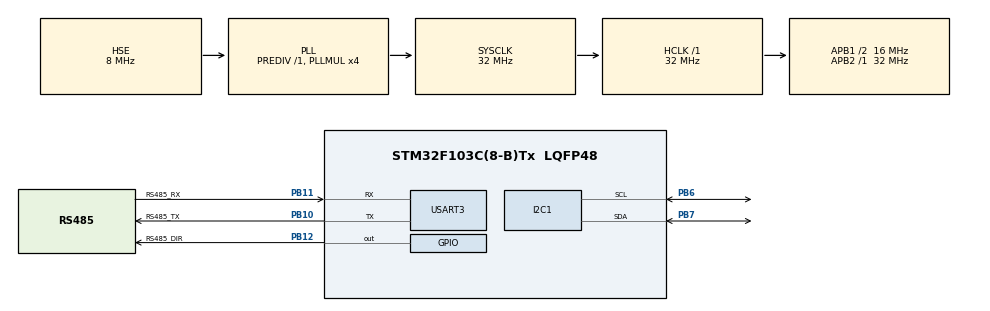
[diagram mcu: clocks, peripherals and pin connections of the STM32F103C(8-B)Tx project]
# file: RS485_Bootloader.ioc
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Dma.I2C1_TX.0.Direction=DMA_MEMORY_TO_PERIPH
Dma.I2C1_TX.0.Instance=DMA1_Channel6
Dma.I2C1_TX.0.MemDataAlignment=DMA_MDATAALIGN_HALFWORD
Dma.I2C1_TX.0.MemInc=DMA_MINC_ENABLE
Dma.I2C1_TX.0.Mode=DMA_NORMAL
Dma.I2C1_TX.0.PeriphDataAlignment=DMA_PDATAALIGN_HALFWORD
Dma.I2C1_TX.0.PeriphInc=DMA_PINC_DISABLE
Dma.I2C1_TX.0.Priority=DMA_PRIORITY_LOW
Dma.Request0=I2C1_TX
Mcu.Family=STM32F1
Mcu.Name=STM32F103C(8-B)Tx
Mcu.Package=LQFP48
NVIC.DMA1_Channel6_IRQn=true\:0\:0\:false\:false\:true\:false\:true
NVIC.PriorityGroup=NVIC_PRIORITYGROUP_4
NVIC.USART3_IRQn=true\:0\:0\:false\:false\:true\:true\:true
PA13.Mode=Serial_Wire
PA13.Signal=SYS_JTMS-SWDIO
PA14.Mode=Serial_Wire
PA14.Signal=SYS_JTCK-SWCLK
PB10.GPIO_Label=RS485_TX
PB10.Mode=Asynchronous
PB10.Signal=USART3_TX
PB11.GPIO_Label=RS485_RX
PB11.Mode=Asynchronous
PB11.Signal=USART3_RX
PB12.GPIO_Label=RS485_DIR
PB12.Signal=GPIO_Output
PB6.Mode=I2C
PB6.Signal=I2C1_SCL
PB7.Mode=I2C
PB7.Signal=I2C1_SDA
PC14-OSC32_IN.Mode=LSE-External-Oscillator
PC14-OSC32_IN.Signal=RCC_OSC32_IN
PC15-OSC32_OUT.Mode=LSE-External-Oscillator
PC15-OSC32_OUT.Signal=RCC_OSC32_OUT
PD0-OSC_IN.Mode=HSE-External-Oscillator
PD0-OSC_IN.Signal=RCC_OSC_IN
PD1-OSC_OUT.Mode=HSE-External-Oscillator
PD1-OSC_OUT.Signal=RCC_OSC_OUT
ProjectManager.HeapSize=0x200
ProjectManager.StackSize=0x400
ProjectManager.TargetToolchain=MDK-ARM V5.27
RCC.AHBFreq_Value=32000000
RCC.APB1CLKDivider=RCC_HCLK_DIV2
RCC.APB1Freq_Value=16000000
RCC.APB1TimFreq_Value=32000000
RCC.APB2Freq_Value=32000000
RCC.APB2TimFreq_Value=32000000
RCC.HCLKFreq_Value=32000000
RCC.PLLMUL=RCC_PLL_MUL4
RCC.PLLSourceVirtual=RCC_PLLSOURCE_HSE
RCC.SYSCLKFreq_VALUE=32000000
RCC.SYSCLKSource=RCC_SYSCLKSOURCE_PLLCLK
RCC.USBFreq_Value=32000000
USART3.VirtualMode=VM_ASYNC
board=custom

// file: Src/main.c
/* USER CODE BEGIN Header */
/**
  ******************************************************************************
  * @file           : main.c
  * @brief          : Main program body
  ******************************************************************************
  * @attention
  *
  * <h2><center>&copy; Copyright (c) 2020 STMicroelectronics.
  * All rights reserved.</center></h2>
  *
  * This software component is licensed by ST under BSD 3-Clause license,
  * the "License"; You may not use this file except in compliance with the
  * License. You may obtain a copy of the License at:
  *                        opensource.org/licenses/BSD-3-Clause
  *
  ******************************************************************************
  */
/* USER CODE END Header */

#include "main.h"
#include "dma.h"
#include "i2c.h"
#include "usart.h"
#include "gpio.h"

/* USER CODE BEGIN Includes */
#include <stdio.h>
#include "settings.h"
/* USER CODE END Includes */

/* USER CODE BEGIN PTD */
typedef  void (*pFunction)(void);
/* USER CODE END PTD */

/* USER CODE BEGIN PD */
#define	APP_ADDRESS				0x08004000
#define STM_FLASH_PAGE_BYTES		1024
#define LINES_PER_EEPROM_PAGE	I2C_EEPROM_PAGE_SIZE/16
#define EEPROM_START_ADDR		I2C_EEPROM_PAGE_SIZE*2
/* USER CODE END PD */

/* USER CODE BEGIN PV */
boot_state_t State = MAIN_APP_START;
uint8_t Hex_Data_Size, Hex_Data_Type, check_sum;
uint16_t Hex_Data_Address;
uint8_t Answer_Arr[8];
uint32_t program_data;//????? ??????? ??????? ?? ????
    uint8_t Hex_Data_Calculated_Crc = 0 , Hex_Data_Income_Crc = 0;
uint8_t MemPageBuf[I2C_EEPROM_PAGE_SIZE];
int MemPageCounter = 0;
int MemPageAddress = EEPROM_START_ADDR;
int EndDataAddress = 0x08010000;
int AppSize = 0xC000;
uint8_t Flash_Buf[STM_FLASH_PAGE_BYTES];
/* USER CODE END PV */

void SystemClock_Config(void);
/* USER CODE BEGIN PFP */
void ExecMainFW (void);
/* USER CODE END PFP */

/* USER CODE BEGIN 0 */
int fputc (int ch, FILE *f)
{
	HAL_GPIO_WritePin (RS485_DIR_GPIO_Port, RS485_DIR_Pin, GPIO_PIN_SET);
	HAL_UART_Transmit(&huart3, (uint8_t *) &ch, 1, 1000);
	HAL_GPIO_WritePin (RS485_DIR_GPIO_Port, RS485_DIR_Pin, GPIO_PIN_RESET);
	return ch;
}

void RS485_Transmit (uint8_t Tx_Buff[], uint16_t size)
{
	HAL_GPIO_WritePin (RS485_DIR_GPIO_Port, RS485_DIR_Pin, GPIO_PIN_SET);
	HAL_UART_Transmit(&huart3, (uint8_t *) Tx_Buff, size, 1000);
	HAL_GPIO_WritePin (RS485_DIR_GPIO_Port, RS485_DIR_Pin, GPIO_PIN_RESET);
}

void AsciiToHex (uint8_t *buf, uint8_t count)
{
	for(uint8_t i = 0; i < count; i++)
	{
		if ((buf[i] >= '0') && (buf[i] <= '9'))
		{
			buf[i] -= 0x30;
		}
		else
		{
			buf[i] -= 0x37;
		}
	}
}

/* USER CODE END 0 */

int main(void)
{
  /* USER CODE BEGIN 1 */
	FLASH_EraseInitTypeDef FlashPage;
	HAL_StatusTypeDef EraseStatus;
	uint32_t PageError;

	FlashPage.TypeErase = FLASH_TYPEERASE_PAGES;
	FlashPage.Banks = FLASH_BANK_1;
	FlashPage.NbPages = 1;
	FlashPage.PageAddress = APP_ADDRESS;

	uint32_t WordBuf;
	char buf [32] = "Hello!\r\n";
  /* USER CODE END 1 */

  /* MCU Configuration--------------------------------------------------------*/

  /* Reset of all peripherals, Initializes the Flash interface and the Systick. */
  HAL_Init();

  /* Configure the system clock */
  SystemClock_Config();

  /* USER CODE BEGIN SysInit */
// For I2c stm32f103 bug
	__HAL_RCC_I2C1_CLK_ENABLE();
	HAL_Delay(100);
	__HAL_RCC_I2C1_FORCE_RESET();
	HAL_Delay(100);
	__HAL_RCC_I2C1_RELEASE_RESET();
	HAL_Delay(100);
  /* USER CODE END SysInit */

  /* Initialize all configured peripherals */
	MX_GPIO_Init();
	MX_DMA_Init();
	MX_I2C1_Init();
	MX_USART3_UART_Init();
  /* USER CODE BEGIN 2 */
	Settings_Init (false);
  //i2c_eeprom_write (0x00, (unsigned char *)&buf, sizeof(buf));
  //strcpy (buf, "Fuck that shit!");
  //i2c_eeprom_read (0x00, (unsigned char *)&buf, sizeof(buf));
  //printf ("Eeprom: %s", buf);
  /* USER CODE END 2 */

  /* Infinite loop */
  /* USER CODE BEGIN WHILE */
	for (int i = 0; i < 32; i++) buf[i] = 0;
	RS485_Transmit ((uint8_t *) "M03:RDY", 7);
	//HAL_UART_Receive (&huart3, (uint8_t *) buf, 7, 8000);
	State = MAIN_APP_START;
	//printf ("MAIN: %s", buf);
	HAL_Delay (30);
	for (int i = 0; i < 32; i++)
	{
		HAL_UART_Receive (&huart3, (uint8_t *) buf, 1, 100);
		if (buf[0] == 'M')
		{
			HAL_UART_Receive (&huart3, (uint8_t *) buf, 1, 100);
			if (buf[0] == '0')
			{
				HAL_UART_Receive (&huart3, (uint8_t *) buf, 1, 100);
				if (buf[0] == '1')
				{
					HAL_UART_Receive (&huart3, (uint8_t *) buf, 1, 100);
					if (buf[0] == ':')
					{
						HAL_UART_Receive (&huart3, (uint8_t *) buf, 3, 100);
						if ((buf[0] == 'R') && (buf[1] == 'D') && (buf[2] == 'Y'))
						{
							HAL_Delay (30);
							RS485_Transmit ((uint8_t *) "M03:RDY", 7);
							State = WAIT_FOR_UPDATE;
							EndDataAddress = 0x0000;
							Answer_Arr [4] = ':';
							Answer_Arr [7] = 0;
							break;
						}
					}
				}
			}
		}
		HAL_Delay (30);
	}
	while (1)
	{
		switch (State)
		{
			case MAIN_APP_START:
					RS485_Transmit ((uint8_t *) "MAIN_APP_START..\r\n", 18);
					ExecMainFW ();
					RS485_Transmit ((uint8_t *) "Not Jumped!!!\r\n", 15);
				break;
			case UPDATE_LOADED_TO_MEM:
					EraseStatus = HAL_FLASH_Unlock();
					for(int page_counter = 0; (page_counter < 32) && (EraseStatus == HAL_OK); page_counter++)
					{
						EraseStatus = HAL_FLASHEx_Erase (&FlashPage, &PageError);
						FlashPage.PageAddress = APP_ADDRESS + (STM_FLASH_PAGE_BYTES * page_counter);
					}
					AppSize = ((APP_ADDRESS + EndDataAddress) - APP_ADDRESS) / STM_FLASH_PAGE_BYTES;
					printf ("AppSize: %d\r\n", AppSize);
					for (int j = 0; j <= AppSize; j++)
					{
						if (i2c_eeprom_read ((j*STM_FLASH_PAGE_BYTES + EEPROM_START_ADDR), Flash_Buf, STM_FLASH_PAGE_BYTES) > 0)
						{
							for (int k = 0; k < STM_FLASH_PAGE_BYTES; k += 4)
							{
								WordBuf =  Flash_Buf[k+3] << 24;
								WordBuf |= Flash_Buf[k+2] << 16;
								WordBuf |= Flash_Buf[k+1] << 8;
								WordBuf |= Flash_Buf[k+0];
								EraseStatus = HAL_FLASH_Program (FLASH_TYPEPROGRAM_WORD, APP_ADDRESS + k + j*STM_FLASH_PAGE_BYTES, (uint64_t) WordBuf);
								WordBuf = 0;
							}
						}
						//printf ("HAL_FLASH_Program: %d\r\n", EraseStatus);
						//printf ("j: %x \r\n", APP_ADDRESS + j*STM_FLASH_PAGE_BYTES);
					}
					EraseStatus = HAL_FLASH_Lock();
					RS485_Transmit ((uint8_t *) "HAL Flash locked\r\n", 18);
					State = MAIN_APP_START;
				break;
			case WAIT_FOR_UPDATE:
				HAL_UART_Receive (&huart3, (uint8_t *) buf, 1, 1000);
				if (buf[0] == ':' )
				{
					HAL_UART_Receive (&huart3, (uint8_t *) buf, 8, 1000);
					Answer_Arr [0] = buf[2];
					Answer_Arr [1] = buf[3];
					Answer_Arr [2] = buf[4];
					Answer_Arr [3] = buf[5];
					AsciiToHex ((uint8_t*) buf, 8);
					Hex_Data_Size = 2*(buf[1] + 16*buf[0]);
					Hex_Data_Address = buf[5] + 16*buf[4] + 256*buf[3] + 4096*buf[2];
					Hex_Data_Type = buf[7] + 16*buf[6];
					Hex_Data_Calculated_Crc = Hex_Data_Size/2 + (uint8_t)Hex_Data_Address + (uint8_t)(Hex_Data_Address>>8) + Hex_Data_Type;
					if(Hex_Data_Type == 0x00)
					{
						HAL_UART_Receive (&huart3, (uint8_t *) buf, Hex_Data_Size, 2000);
						AsciiToHex ((uint8_t*) buf, Hex_Data_Size);
						int j = 0;
						for(int i = 0; i < Hex_Data_Size; i += 2)
						{
							j = (i + 32*MemPageCounter) / 2;
							MemPageBuf[j] = (buf[i+1] + 16*buf[i]);
							Hex_Data_Calculated_Crc += MemPageBuf[j];
							EndDataAddress++;
						}
						//HAL_Delay (180);
						//printf ("MemPageBuf: %02x %02x %02x %02x %02x %02x %02x %02x \r\n", MemPageBuf[7], MemPageBuf[6], MemPageBuf[5], MemPageBuf[4], MemPageBuf[3], MemPageBuf[2], MemPageBuf[1], MemPageBuf[0]);
						HAL_UART_Receive (&huart3, (uint8_t *) buf, 2, 2000);
						AsciiToHex ((uint8_t*) buf, 2);
						Hex_Data_Income_Crc = (buf[1] + 16*buf[0]);
						Hex_Data_Calculated_Crc = 256 - Hex_Data_Calculated_Crc;
						if (Hex_Data_Calculated_Crc == Hex_Data_Income_Crc)
						{
							Answer_Arr [5] = 'O';
							Answer_Arr [6] = 'K';
							if (++MemPageCounter >= LINES_PER_EEPROM_PAGE)
							{
								MemPageCounter = 0;
								int tmp;
								tmp = i2c_eeprom_write_page (MemPageAddress, MemPageBuf);
								if (tmp > 0)
								{
									MemPageAddress = tmp;
								}
								else
								{
									MemPageCounter = LINES_PER_EEPROM_PAGE - 1;
									Answer_Arr [5] = 'E';
									Answer_Arr [6] = 'R';
									RS485_Transmit (Answer_Arr, 7);
									State = MAIN_APP_START;
									break;
								}
							}
						}
						else
						{
							Answer_Arr [5] = 'N';
							Answer_Arr [6] = 'O';
						}
						RS485_Transmit (Answer_Arr, 7);
						//printf ("Hex_Data_Calculated_Crc: %02x \r\n", Hex_Data_Calculated_Crc);
					}
					else if (Hex_Data_Type == 0x01)
					{
						State = UPDATE_LOADED_TO_MEM;
						if (MemPageCounter != 0)
						{
							Answer_Arr [5] = 'O';
							Answer_Arr [6] = 'K';
							int tmp;
								tmp = i2c_eeprom_write_page (MemPageAddress, MemPageBuf);
								if (tmp > 0)
								{
									MemPageAddress = tmp;
								}
								else
								{
									MemPageCounter = LINES_PER_EEPROM_PAGE - 1;
									Answer_Arr [5] = 'E';
									Answer_Arr [6] = 'R';
									State = MAIN_APP_START;
								}
							RS485_Transmit (Answer_Arr, 7);
						}
						//EndDataAddress = MemPageAddress + 64;
						HAL_Delay (15);
						printf ("\r\n Running main.. EndDAddr: %x; MemPageAddr: %x\r\n", EndDataAddress, MemPageAddress);
					}
					else if (Hex_Data_Type == 0x05)
					{
						//printf ("End, 0x05: \r\n");
						HAL_Delay (5);
						Answer_Arr [5] = 'O';
						Answer_Arr [6] = 'K';
						RS485_Transmit (Answer_Arr, 7);
					}
					else
					{
						HAL_Delay (5);
						Answer_Arr [5] = 'O';
						Answer_Arr [6] = 'K';
						RS485_Transmit (Answer_Arr, 7);
					}
				}
				break;
		}
    /* USER CODE END WHILE */

	}
}

void SystemClock_Config(void)
{
  RCC_OscInitTypeDef RCC_OscInitStruct = {0};
  RCC_ClkInitTypeDef RCC_ClkInitStruct = {0};

  /** Initializes the CPU, AHB and APB busses clocks
  */
  RCC_OscInitStruct.OscillatorType = RCC_OSCILLATORTYPE_HSE;
  RCC_OscInitStruct.HSEState = RCC_HSE_ON;
  RCC_OscInitStruct.HSEPredivValue = RCC_HSE_PREDIV_DIV1;
  RCC_OscInitStruct.HSIState = RCC_HSI_ON;
  RCC_OscInitStruct.PLL.PLLState = RCC_PLL_ON;
  RCC_OscInitStruct.PLL.PLLSource = RCC_PLLSOURCE_HSE;
  RCC_OscInitStruct.PLL.PLLMUL = RCC_PLL_MUL4;
  if (HAL_RCC_OscConfig(&RCC_OscInitStruct) != HAL_OK)
  {
    Error_Handler();
  }
  /** Initializes the CPU, AHB and APB busses clocks
  */
  RCC_ClkInitStruct.ClockType = RCC_CLOCKTYPE_HCLK|RCC_CLOCKTYPE_SYSCLK
                              |RCC_CLOCKTYPE_PCLK1|RCC_CLOCKTYPE_PCLK2;
  RCC_ClkInitStruct.SYSCLKSource = RCC_SYSCLKSOURCE_PLLCLK;
  RCC_ClkInitStruct.AHBCLKDivider = RCC_SYSCLK_DIV1;
  RCC_ClkInitStruct.APB1CLKDivider = RCC_HCLK_DIV2;
  RCC_ClkInitStruct.APB2CLKDivider = RCC_HCLK_DIV1;

  if (HAL_RCC_ClockConfig(&RCC_ClkInitStruct, FLASH_LATENCY_1) != HAL_OK)
  {
    Error_Handler();
  }
}

/* USER CODE BEGIN 4 */

void ExecMainFW (void)
{
/*
 RCC->APB1RSTR = 0xFFFFFFFF; RCC->APB1RSTR = 0x0;
 RCC->APB2RSTR = 0xFFFFFFFF; RCC->APB2RSTR = 0x0;
 RCC->APB1ENR = 0x0;
 RCC->APB2ENR = 0x0;
 RCC->AHBENR = 0x0;
	HAL_UART_DeInit (&huart3);
	HAL_UART_MspDeInit (&huart3);
	HAL_GPIO_DeInit (GPIOA, GPIO_PIN_10);
	HAL_GPIO_DeInit (RS485_DIR_GPIO_Port, RS485_DIR_Pin);
	HAL_RCC_DeInit();
	HAL_MspDeInit ();
	HAL_DeInit ();
*/
	SCB->VTOR = APP_ADDRESS;
	uint32_t jumpAddress = *((__IO uint32_t*) (APP_ADDRESS + 4));
	pFunction Jump_To_Application = (pFunction) jumpAddress;
	__disable_irq();
	__set_MSP(*(__IO uint32_t*) APP_ADDRESS);
	Jump_To_Application();
}
/* USER CODE END 4 */

void Error_Handler(void)
{
}

/************************ (C) COPYRIGHT STMicroelectronics *****END OF FILE****/
